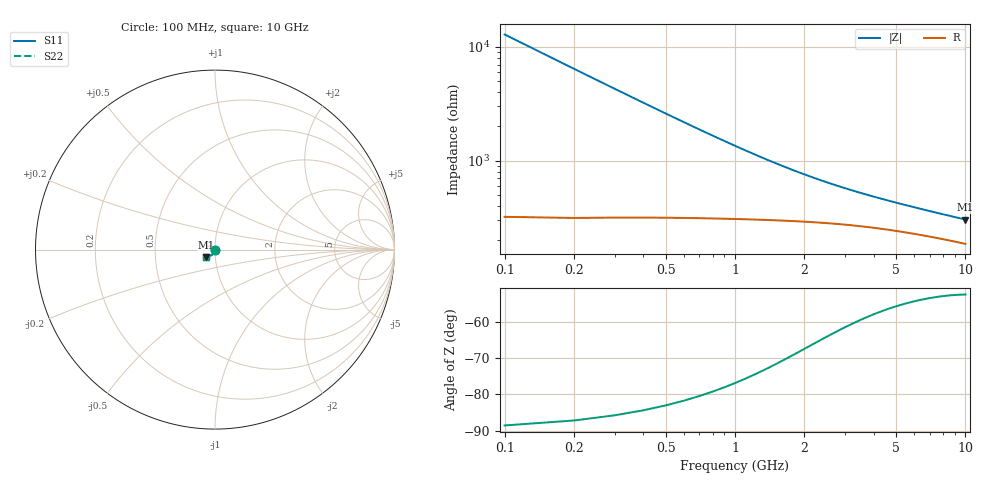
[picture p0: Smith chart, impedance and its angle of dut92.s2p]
! Touchstone file exported from HFSS 2024.1.0
!  File:  C:/UserFiles/LocalFiles/RDL_TSV_Batchsim/temp_TSV1_92_1778764639.aedt
!  Generated:  09:21:09 PM May 14, 2026
!  Design:  TSV1
!  Project:  temp_TSV1_92_1778764639
!  Setup:  Setup1
!  Solution:  Sweep
! Variables:
!  dtsv = 17.91um
!  hbump = 3um
!  htsv = 56.67um
!  lrdl = 252.1521522um
!  p = 40
!  p1 = 44.01um
!  t = 500um
!  trdl = 3um
!  wrdl = 24.89489489um
# GHz S MA R 50.000000
! Terminal data exported
! Port[1] = TSV22_T1
! Port[2] = TSV22_T2
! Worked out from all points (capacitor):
!   100 points, 100 MHz to 10 GHz, reference 50 ohm
!   read as one part in shunt: C = 124 fF near 100 MHz
!   lowest |Z| = 304 ohm at 10 GHz (marker M1)
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0.1  0.001739 -89.4  0.9999 -0.1  0.9999 -0.1  0.001739 -89.4
! Gamma 0 0 0 0
! Port Impedance 50 0 50 0
0.2  0.003495 -91.9  0.9997 -0.2  0.9997 -0.2  0.003495 -91.9
0.3  0.005237 -93.9  0.9994 -0.4  0.9994 -0.4  0.005237 -93.9
0.4  0.00696 -95.6  0.9991 -0.5  0.9991 -0.5  0.00696 -95.6
0.5  0.008659 -97.3  0.9986 -0.6  0.9986 -0.6  0.008659 -97.3
0.6  0.01033 -98.9  0.9981 -0.7  0.9981 -0.7  0.01033 -98.9
0.7  0.01197 -100.4  0.9975 -0.8  0.9975 -0.8  0.01197 -100.4
0.8  0.01357 -101.9  0.9969 -0.9  0.9969 -0.9  0.01357 -101.9
0.9  0.01513 -103.4  0.9962 -1.0  0.9962 -1.0  0.01513 -103.4
1.1  0.01813 -106.2  0.9947 -1.2  0.9947 -1.2  0.01813 -106.2
1.4  0.02229 -110.0  0.9921 -1.5  0.9921 -1.5  0.02229 -110.0
1.6  0.02483 -112.3  0.9904 -1.6  0.9904 -1.6  0.02483 -112.3
1.8  0.02719 -114.4  0.9886 -1.8  0.9886 -1.8  0.02719 -114.4
2.1  0.03043 -117.3  0.9859 -2.0  0.9859 -2.0  0.03043 -117.3
2.5  0.03422 -120.5  0.9825 -2.2  0.9825 -2.2  0.03422 -120.5
2.9  0.03752 -123.2  0.9794 -2.4  0.9794 -2.4  0.03752 -123.2
3.4  0.0411 -126.0  0.9759 -2.6  0.9759 -2.6  0.0411 -126.0
4.2  0.04591 -129.4  0.971 -2.9  0.971 -2.9  0.04591 -129.4
5.1  0.05038 -132.2  0.9664 -3.2  0.9664 -3.2  0.05038 -132.2
6.7  0.0568 -135.6  0.9598 -3.6  0.9598 -3.6  0.0568 -135.6
8.4  0.06221 -137.9  0.9544 -4.1  0.9544 -4.1  0.06221 -137.9
10  0.06642 -139.4  0.9504 -4.5  0.9504 -4.5  0.06642 -139.4
